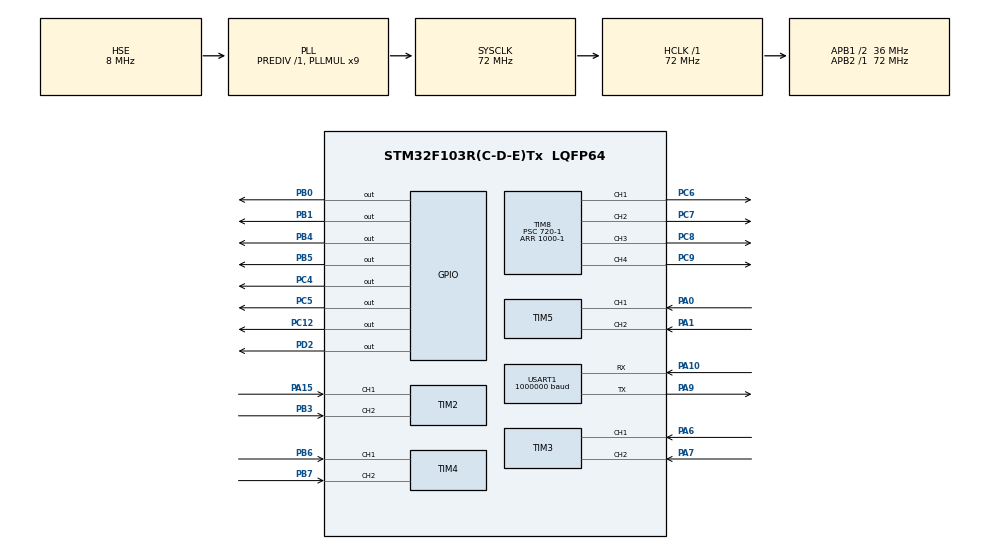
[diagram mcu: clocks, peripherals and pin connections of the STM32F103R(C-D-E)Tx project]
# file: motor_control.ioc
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Mcu.Family=STM32F1
Mcu.Name=STM32F103R(C-D-E)Tx
Mcu.Package=LQFP64
NVIC.PriorityGroup=NVIC_PRIORITYGROUP_4
NVIC.TIM6_IRQn=true\:0\:0\:false\:false\:true\:true\:true\:true
NVIC.USART1_IRQn=true\:0\:0\:false\:false\:true\:true\:true\:true
PA0-WKUP.Signal=S_TIM5_CH1
PA1.Signal=S_TIM5_CH2
PA10.Mode=Asynchronous
PA10.Signal=USART1_RX
PA15.Signal=S_TIM2_CH1_ETR
PA6.Signal=S_TIM3_CH1
PA7.Signal=S_TIM3_CH2
PA9.Mode=Asynchronous
PA9.Signal=USART1_TX
PB0.Signal=GPIO_Output
PB1.Signal=GPIO_Output
PB3.Signal=S_TIM2_CH2
PB4.Signal=GPIO_Output
PB5.Signal=GPIO_Output
PB6.Signal=S_TIM4_CH1
PB7.Signal=S_TIM4_CH2
PC12.Signal=GPIO_Output
PC4.Signal=GPIO_Output
PC5.Signal=GPIO_Output
PC6.Signal=S_TIM8_CH1
PC7.Signal=S_TIM8_CH2
PC8.Signal=S_TIM8_CH3
PC9.Signal=S_TIM8_CH4
PD0-OSC_IN.Mode=HSE-External-Oscillator
PD0-OSC_IN.Signal=RCC_OSC_IN
PD1-OSC_OUT.Mode=HSE-External-Oscillator
PD1-OSC_OUT.Signal=RCC_OSC_OUT
PD2.Signal=GPIO_Output
ProjectManager.HeapSize=0x200
ProjectManager.StackSize=0x400
ProjectManager.TargetToolchain=STM32CubeIDE
RCC.AHBFreq_Value=72000000
RCC.APB1CLKDivider=RCC_HCLK_DIV2
RCC.APB1Freq_Value=36000000
RCC.APB1TimFreq_Value=72000000
RCC.APB2Freq_Value=72000000
RCC.APB2TimFreq_Value=72000000
RCC.HCLKFreq_Value=72000000
RCC.PLLMUL=RCC_PLL_MUL9
RCC.PLLSourceVirtual=RCC_PLLSOURCE_HSE
RCC.SYSCLKFreq_VALUE=72000000
RCC.SYSCLKSource=RCC_SYSCLKSOURCE_PLLCLK
RCC.USBFreq_Value=72000000
SH.S_TIM2_CH1_ETR.0=TIM2_CH1,Encoder_Interface
SH.S_TIM2_CH2.0=TIM2_CH2,Encoder_Interface
SH.S_TIM3_CH1.0=TIM3_CH1,Encoder_Interface
SH.S_TIM3_CH2.0=TIM3_CH2,Encoder_Interface
SH.S_TIM4_CH1.0=TIM4_CH1,Encoder_Interface
SH.S_TIM4_CH2.0=TIM4_CH2,Encoder_Interface
SH.S_TIM5_CH1.0=TIM5_CH1,Encoder_Interface
SH.S_TIM5_CH2.0=TIM5_CH2,Encoder_Interface
SH.S_TIM8_CH1.0=TIM8_CH1,PWM Generation1 CH1
SH.S_TIM8_CH2.0=TIM8_CH2,PWM Generation2 CH2
SH.S_TIM8_CH3.0=TIM8_CH3,PWM Generation3 CH3
SH.S_TIM8_CH4.0=TIM8_CH4,PWM Generation4 CH4
TIM2.EncoderMode=TIM_ENCODERMODE_TI12
TIM3.EncoderMode=TIM_ENCODERMODE_TI12
TIM4.EncoderMode=TIM_ENCODERMODE_TI12
TIM5.EncoderMode=TIM_ENCODERMODE_TI12
TIM6.Period=10000-1
TIM6.Prescaler=720-1
TIM8.Channel-PWM\ Generation1\ CH1=TIM_CHANNEL_1
TIM8.Channel-PWM\ Generation2\ CH2=TIM_CHANNEL_2
TIM8.Channel-PWM\ Generation3\ CH3=TIM_CHANNEL_3
TIM8.Channel-PWM\ Generation4\ CH4=TIM_CHANNEL_4
TIM8.Period=1000-1
TIM8.Prescaler=720-1
USART1.BaudRate=1000000
USART1.VirtualMode=VM_ASYNC
VP_SYS_VS_ND.Mode=No_Debug
VP_TIM6_VS_ClockSourceINT.Mode=Enable_Timer
VP_TIM8_VS_ClockSourceINT.Mode=Internal
board=custom

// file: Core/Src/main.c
/* USER CODE BEGIN Header */
/**
  ******************************************************************************
  * @file           : main.c
  * @brief          : Main program body
  ******************************************************************************
  * @attention
  *
  * Copyright (c) 2023 STMicroelectronics.
  * All rights reserved.
  *
  * This software is licensed under terms that can be found in the LICENSE file
  * in the root directory of this software component.
  * If no LICENSE file comes with this software, it is provided AS-IS.
  *
  ******************************************************************************
  */
/* USER CODE END Header */
#include "main.h"
#include "tim.h"
#include "usart.h"
#include "gpio.h"

/* USER CODE BEGIN Includes */
#include "stdio.h"
#include "stdlib.h"
#include "motor_encoder.h"
#include <math.h>
#include <string.h>

/* USER CODE END Includes */

/* USER CODE BEGIN PV */
encoder_instance enc_instance_A;
encoder_instance enc_instance_B;
encoder_instance enc_instance_C;
encoder_instance enc_instance_D;

int16_t encoder_velocity_A = 0;
int32_t encoder_position_A = 0;
int16_t encoder_velocity_B = 0;
int32_t encoder_position_B = 0;
int16_t encoder_velocity_C = 0;
int32_t encoder_position_C = 0;
int16_t encoder_velocity_D = 0;
int32_t encoder_position_D = 0;

uint8_t g_rx_buf[256] = {0, };
uint8_t g_recv_data[256] = {0, };
uint8_t g_rx_index = 0;

int16_t g_ma_motor_speed = 0;
int16_t g_mb_motor_speed = 0;
int16_t g_mc_motor_speed = 0;
int16_t g_md_motor_speed = 0;

/* USER CODE END PV */

void SystemClock_Config(void);
/* USER CODE BEGIN PFP */

uint8_t process_protocol(void);
void send_current_state(void);
void send_resonse_protocol(uint8_t);
uint8_t calc_checksum(uint8_t*, uint8_t);
int16_t limit_motor_speed(int16_t);

/* USER CODE END PFP */

/* USER CODE BEGIN 0 */

// uart로 1byte 들어올때마다 실행되는 인터럽트 콜백함수
void HAL_UART_RxCpltCallback(UART_HandleTypeDef *huart)
{
	if (huart == &huart1)
	{
		uint8_t len = 0;
		len = process_protocol();

		if(len != 0)
		{
			// response for command
			uint8_t cmd = g_recv_data[0];
			uint8_t need_res = g_recv_data[len - 1];

			if(cmd == 0x01)
			{
				if(need_res)
				{
					send_resonse_protocol(len);
				}
			}
			else if(cmd == 0x02)
			{
				g_mc_motor_speed = (int16_t)((g_recv_data[1] << 8) | g_recv_data[2]);
				g_md_motor_speed = (int16_t)((g_recv_data[3] << 8) | g_recv_data[4]);
				g_ma_motor_speed = (int16_t)((g_recv_data[5] << 8) | g_recv_data[6]);
				g_mb_motor_speed = (int16_t)((g_recv_data[7] << 8) | g_recv_data[8]);

				if(need_res)
				{
					send_resonse_protocol(len);
				}
			}
			else if(cmd == 0x03)
			{
				send_current_state();
			}
			g_rx_index = 0;
		}
		HAL_UART_Receive_IT(&huart1, &g_rx_buf[g_rx_index], 1);
	}
}

// timer6 주기마다 실행되는 타이머 인터럽트 콜백 함수
void HAL_TIM_PeriodElapsedCallback(TIM_HandleTypeDef *htim)
{

	if (htim->Instance == TIM6){

		// pwm 수치 제한 (-1000< pwm < 1000)
		g_ma_motor_speed = limit_motor_speed(g_ma_motor_speed);
		g_mb_motor_speed = limit_motor_speed(g_mb_motor_speed);
		g_mc_motor_speed = limit_motor_speed(g_mc_motor_speed);
		g_md_motor_speed = limit_motor_speed(g_md_motor_speed);

		// 모터에 pwm 수치를 넣어준다
		if(g_ma_motor_speed >= 0)
		{
			HAL_GPIO_WritePin(GPIOD, GPIO_PIN_2, 0);
			HAL_GPIO_WritePin(GPIOC, GPIO_PIN_12, 1);
			__HAL_TIM_SET_COMPARE(&htim8, TIM_CHANNEL_4, g_ma_motor_speed);
		}
		else {
			HAL_GPIO_WritePin(GPIOD, GPIO_PIN_2, 1);
			HAL_GPIO_WritePin(GPIOC, GPIO_PIN_12, 0);
			__HAL_TIM_SET_COMPARE(&htim8, TIM_CHANNEL_4, -1 * g_ma_motor_speed);
		}

		if(g_mb_motor_speed >= 0)
		{
			HAL_GPIO_WritePin(GPIOB, GPIO_PIN_4, 0);
			HAL_GPIO_WritePin(GPIOB, GPIO_PIN_5, 1);
			__HAL_TIM_SET_COMPARE(&htim8, TIM_CHANNEL_3, g_mb_motor_speed);
		}
		else {
			HAL_GPIO_WritePin(GPIOB, GPIO_PIN_4, 1);
			HAL_GPIO_WritePin(GPIOB, GPIO_PIN_5, 0);
			__HAL_TIM_SET_COMPARE(&htim8, TIM_CHANNEL_3, -1 * g_mb_motor_speed);
		}

		if(g_mc_motor_speed >= 0)
		{
			HAL_GPIO_WritePin(GPIOC, GPIO_PIN_5, 0);
			HAL_GPIO_WritePin(GPIOC, GPIO_PIN_4, 1);
			__HAL_TIM_SET_COMPARE(&htim8, TIM_CHANNEL_2, g_mc_motor_speed);
		}
		else {
			HAL_GPIO_WritePin(GPIOC, GPIO_PIN_5, 1);
			HAL_GPIO_WritePin(GPIOC, GPIO_PIN_4, 0);
			__HAL_TIM_SET_COMPARE(&htim8, TIM_CHANNEL_2, -1 * g_mc_motor_speed);
		}

		if(g_md_motor_speed >= 0)
		{
			HAL_GPIO_WritePin(GPIOB, GPIO_PIN_0, 0);
			HAL_GPIO_WritePin(GPIOB, GPIO_PIN_1, 1);
			__HAL_TIM_SET_COMPARE(&htim8, TIM_CHANNEL_1, g_md_motor_speed);
		}
		else {
			HAL_GPIO_WritePin(GPIOB, GPIO_PIN_0, 1);
			HAL_GPIO_WritePin(GPIOB, GPIO_PIN_1, 0);
			__HAL_TIM_SET_COMPARE(&htim8, TIM_CHANNEL_1, -1 * g_md_motor_speed);
		}

		// encoder값을 읽어 변수에 저장
		update_encoder(&enc_instance_A, &htim2);
		update_encoder(&enc_instance_B, &htim3);
		update_encoder(&enc_instance_C, &htim4);
		update_encoder(&enc_instance_D, &htim5);
		encoder_position_A = enc_instance_A.position;
		encoder_velocity_A = enc_instance_A.velocity;
		encoder_position_B = enc_instance_B.position;
		encoder_velocity_B = enc_instance_B.velocity;
		encoder_position_C = enc_instance_C.position;
		encoder_velocity_C = enc_instance_C.velocity;
		encoder_position_D = enc_instance_D.position;
		encoder_velocity_D = enc_instance_D.velocity;
	}
}

/* USER CODE END 0 */

int main(void)
{

  /* MCU Configuration--------------------------------------------------------*/

  /* Reset of all peripherals, Initializes the Flash interface and the Systick. */
  HAL_Init();

  /* Configure the system clock */
  SystemClock_Config();

  /* Initialize all configured peripherals */
  MX_GPIO_Init();
  MX_TIM2_Init();
  MX_TIM3_Init();
  MX_TIM4_Init();
  MX_TIM5_Init();
  MX_TIM8_Init();
  MX_TIM6_Init();
  MX_USART1_UART_Init();
  /* USER CODE BEGIN 2 */

  // encoder mode 시작
  HAL_TIM_Encoder_Start(&htim2, TIM_CHANNEL_ALL);
  HAL_TIM_Encoder_Start(&htim3, TIM_CHANNEL_ALL);
  HAL_TIM_Encoder_Start(&htim4, TIM_CHANNEL_ALL);
  HAL_TIM_Encoder_Start(&htim5, TIM_CHANNEL_ALL);

  // pwm timer 시작
  HAL_TIM_PWM_Start(&htim8, TIM_CHANNEL_1);  // start the pwm md
  HAL_TIM_PWM_Start(&htim8, TIM_CHANNEL_2);  // start the pwm mc
  HAL_TIM_PWM_Start(&htim8, TIM_CHANNEL_3);  // start the pwm mb
  HAL_TIM_PWM_Start(&htim8, TIM_CHANNEL_4);  // start the pwm ma

  // timer6 인터럽트 시작
  HAL_TIM_Base_Start_IT(&htim6);

  // UART 인터럽트 수신 시작
  HAL_UART_Receive_IT(&huart1, &g_rx_buf[g_rx_index], 1);
  /* USER CODE END 2 */

  /* Infinite loop */
  while (1)
  {

  }
}

void SystemClock_Config(void)
{
  RCC_OscInitTypeDef RCC_OscInitStruct = {0};
  RCC_ClkInitTypeDef RCC_ClkInitStruct = {0};

  /** Initializes the RCC Oscillators according to the specified parameters
  * in the RCC_OscInitTypeDef structure.
  */
  RCC_OscInitStruct.OscillatorType = RCC_OSCILLATORTYPE_HSE;
  RCC_OscInitStruct.HSEState = RCC_HSE_ON;
  RCC_OscInitStruct.HSEPredivValue = RCC_HSE_PREDIV_DIV1;
  RCC_OscInitStruct.HSIState = RCC_HSI_ON;
  RCC_OscInitStruct.PLL.PLLState = RCC_PLL_ON;
  RCC_OscInitStruct.PLL.PLLSource = RCC_PLLSOURCE_HSE;
  RCC_OscInitStruct.PLL.PLLMUL = RCC_PLL_MUL9;
  if (HAL_RCC_OscConfig(&RCC_OscInitStruct) != HAL_OK)
  {
    Error_Handler();
  }

  /** Initializes the CPU, AHB and APB buses clocks
  */
  RCC_ClkInitStruct.ClockType = RCC_CLOCKTYPE_HCLK|RCC_CLOCKTYPE_SYSCLK
                              |RCC_CLOCKTYPE_PCLK1|RCC_CLOCKTYPE_PCLK2;
  RCC_ClkInitStruct.SYSCLKSource = RCC_SYSCLKSOURCE_PLLCLK;
  RCC_ClkInitStruct.AHBCLKDivider = RCC_SYSCLK_DIV1;
  RCC_ClkInitStruct.APB1CLKDivider = RCC_HCLK_DIV2;
  RCC_ClkInitStruct.APB2CLKDivider = RCC_HCLK_DIV1;

  if (HAL_RCC_ClockConfig(&RCC_ClkInitStruct, FLASH_LATENCY_2) != HAL_OK)
  {
    Error_Handler();
  }
}

/* USER CODE BEGIN 4 */
uint8_t process_protocol()
{
	g_rx_index++;

	if(g_rx_index > 6)
	{
		if(g_rx_buf[g_rx_index - 1] == 0xFD)
		{
		  if(g_rx_buf[g_rx_index - 2] == 0xFA)
		  {
			uint8_t packet_len = g_rx_buf[g_rx_index - 4];
			// Check Header
			if((g_rx_buf[g_rx_index - packet_len - 5] == 0xFE) && (g_rx_buf[g_rx_index -packet_len - 6] == 0xFA))
			{
			  // Check checksum
			  uint8_t calc_crc = calc_checksum(&g_rx_buf[g_rx_index - packet_len - 4], packet_len + 1);

			  if(calc_crc == g_rx_buf[g_rx_index - 3])
			  {
				// Check completed.
				for(int i = 0; i < packet_len; i++)
				{
				  g_recv_data[i] = g_rx_buf[g_rx_index - packet_len - 4 + i];
				}

				memset(g_rx_buf, 0, 256);
				g_rx_index = 0;

				return packet_len;
			  }
			}
		  }
		}
	}

  return 0;
}
void send_current_state(void)
{
  uint8_t send_data[20] = {0, };

  send_data[0] = 0xFA;
  send_data[1] = 0xFE;
  send_data[2] = 0x93;

  // int16_t l_state = int16_t(l_current_state * 50);  // enconder for second
  send_data[3] = (uint8_t)(encoder_position_C >> 24);
  send_data[4] = (uint8_t)(encoder_position_C >> 16);
  send_data[5] = (uint8_t)(encoder_position_C >> 8);
  send_data[6] = (uint8_t)(encoder_position_C);

  // int16_t r_state = int16_t(r_current_state * 50);  // enconder for second
  send_data[7] = (uint8_t)(encoder_position_D >> 24);
  send_data[8] = (uint8_t)(encoder_position_D >> 16);
  send_data[9] = (uint8_t)(encoder_position_D >> 8);
  send_data[10] = (uint8_t)(encoder_position_D);

  // int16_t r_state = int16_t(r_current_state * 50);  // enconder for second
  send_data[11] = (uint8_t)(encoder_position_A >> 24);
  send_data[12] = (uint8_t)(encoder_position_A >> 16);
  send_data[13] = (uint8_t)(encoder_position_A >> 8);
  send_data[14] = (uint8_t)(encoder_position_A);

  // int16_t r_state = int16_t(r_current_state * 50);  // enconder for second
  send_data[15] = (uint8_t)(encoder_position_B >> 24);
  send_data[16] = (uint8_t)(encoder_position_B >> 16);
  send_data[17] = (uint8_t)(encoder_position_B >> 8);
  send_data[18] = (uint8_t)(encoder_position_B);

  send_data[19] = 17;

  int sum = 0;
  for(int i = 0; i < 17; i++)
  {
    sum += send_data[3+i];
  }
  send_data[20] = (uint8_t)sum;

  send_data[21] = 0xFA;
  send_data[22] = 0xFD;

  HAL_UART_Transmit(&huart1, send_data, 23 ,1000);
}

void send_resonse_protocol(uint8_t len)
{
	uint8_t send_data[len+6];

	//header
	send_data[0] = 0xFA;
	send_data[1] = 0xFE;

	// cmd + data + response
	for(int i = 0; i < len; i++)
	{
		send_data[2+i] = g_recv_data[i];
	}

	//LEN
	send_data[2+len] = len;

	//CMD에 0x90 더하기 : response를 보내는거니까
	send_data[2] = send_data[2] + 0x90;

	// checksum
	uint16_t sum = 0;
	for(int i = 0; i < 2+len; i++)
	{
		sum += send_data[i];
	}
	send_data[3+len] = (uint8_t)sum;

	// footer
	send_data[4+len] = 0xFA;
	send_data[5+len] = 0xFD;

	HAL_UART_Transmit(&huart1, send_data, len+6 ,10000);
}

uint8_t calc_checksum(uint8_t* data, uint8_t len)
{
	uint16_t sum = 0;
	for(int i = 0; i < len; i++)
	{
		sum += data[i];
	}

	return (uint8_t)sum;
}

int16_t limit_motor_speed(int16_t motor)
{
	if(motor > 1000)
	{
		motor = 1000;
	}
	else if(motor < -1000)
	{
		motor = -1000;
	}

	return (int16_t)(motor);
}
/* USER CODE END 4 */

void Error_Handler(void)
{
  __disable_irq();
  while (1)
  {
  }
}
